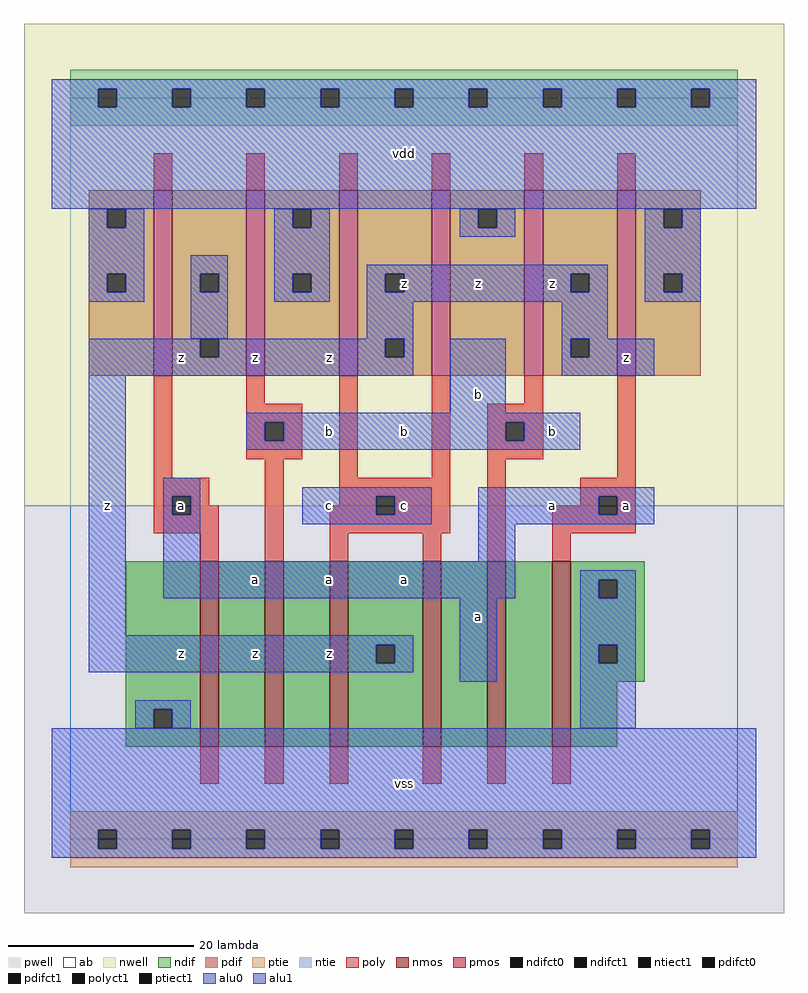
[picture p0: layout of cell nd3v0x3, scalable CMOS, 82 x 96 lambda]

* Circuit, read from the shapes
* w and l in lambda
.subckt nd3v0x3 a b c vdd vss z
M1 n1 a vss vss nfet w=20 l=2
M2 n2 b n1 vss nfet w=20 l=2
M3 z c n2 vss nfet w=20 l=2
M4 n3 c z vss nfet w=20 l=2
M5 n4 b n3 vss nfet w=20 l=2
M6 vss a n4 vss nfet w=20 l=2
M7 z a vdd vdd pfet w=20 l=2 m=2
M8 vdd b z vdd pfet w=20 l=2 m=2
M9 z c vdd vdd pfet w=20 l=2 m=2
.ends

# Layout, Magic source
magic
tech scmos
<< ab >>
rect 0 0 72 80
<< nwell >>
rect -5 36 77 88
<< pwell >>
rect -5 -8 77 36
<< poly >>
rect 9 70 11 74
rect 19 70 21 74
rect 29 70 31 74
rect 39 70 41 74
rect 49 70 51 74
rect 59 70 61 74
rect 9 39 11 50
rect 19 47 21 50
rect 19 45 25 47
rect 19 43 21 45
rect 23 43 25 45
rect 19 41 25 43
rect 9 37 15 39
rect 9 35 11 37
rect 13 36 15 37
rect 13 35 16 36
rect 9 33 16 35
rect 14 30 16 33
rect 21 30 23 41
rect 29 39 31 50
rect 39 39 41 50
rect 49 47 51 50
rect 29 37 41 39
rect 29 36 33 37
rect 28 35 33 36
rect 35 35 41 37
rect 28 33 41 35
rect 45 45 51 47
rect 45 43 47 45
rect 49 43 51 45
rect 45 41 51 43
rect 28 30 30 33
rect 38 30 40 33
rect 45 30 47 41
rect 59 39 61 50
rect 55 37 61 39
rect 55 36 57 37
rect 52 35 57 36
rect 59 35 61 37
rect 52 33 61 35
rect 52 30 54 33
rect 14 6 16 10
rect 21 6 23 10
rect 28 6 30 10
rect 38 6 40 10
rect 45 6 47 10
rect 52 6 54 10
<< ndif >>
rect 6 14 14 30
rect 6 12 9 14
rect 11 12 14 14
rect 6 10 14 12
rect 16 10 21 30
rect 23 10 28 30
rect 30 21 38 30
rect 30 19 33 21
rect 35 19 38 21
rect 30 10 38 19
rect 40 10 45 30
rect 47 10 52 30
rect 54 28 62 30
rect 54 26 57 28
rect 59 26 62 28
rect 54 21 62 26
rect 54 19 57 21
rect 59 19 62 21
rect 54 17 62 19
rect 54 10 59 17
<< pdif >>
rect 2 68 9 70
rect 2 66 4 68
rect 6 66 9 68
rect 2 61 9 66
rect 2 59 4 61
rect 6 59 9 61
rect 2 50 9 59
rect 11 61 19 70
rect 11 59 14 61
rect 16 59 19 61
rect 11 54 19 59
rect 11 52 14 54
rect 16 52 19 54
rect 11 50 19 52
rect 21 68 29 70
rect 21 66 24 68
rect 26 66 29 68
rect 21 61 29 66
rect 21 59 24 61
rect 26 59 29 61
rect 21 50 29 59
rect 31 61 39 70
rect 31 59 34 61
rect 36 59 39 61
rect 31 54 39 59
rect 31 52 34 54
rect 36 52 39 54
rect 31 50 39 52
rect 41 68 49 70
rect 41 66 44 68
rect 46 66 49 68
rect 41 50 49 66
rect 51 61 59 70
rect 51 59 54 61
rect 56 59 59 61
rect 51 54 59 59
rect 51 52 54 54
rect 56 52 59 54
rect 51 50 59 52
rect 61 68 68 70
rect 61 66 64 68
rect 66 66 68 68
rect 61 61 68 66
rect 61 59 64 61
rect 66 59 68 61
rect 61 50 68 59
<< alu1 >>
rect -2 81 74 82
rect -2 79 3 81
rect 5 79 11 81
rect 13 79 19 81
rect 21 79 27 81
rect 29 79 35 81
rect 37 79 43 81
rect 45 79 51 81
rect 53 79 59 81
rect 61 79 67 81
rect 69 79 74 81
rect -2 68 74 79
rect 32 61 58 62
rect 32 59 34 61
rect 36 59 54 61
rect 56 59 58 61
rect 32 58 58 59
rect 32 54 37 58
rect 53 54 58 58
rect 2 52 14 54
rect 16 52 34 54
rect 36 52 37 54
rect 2 50 37 52
rect 2 22 6 50
rect 41 46 47 54
rect 53 52 54 54
rect 56 52 63 54
rect 53 50 63 52
rect 19 45 55 46
rect 19 43 21 45
rect 23 43 47 45
rect 49 43 55 45
rect 19 42 55 43
rect 10 37 14 39
rect 10 35 11 37
rect 13 35 14 37
rect 10 30 14 35
rect 25 37 39 38
rect 25 35 33 37
rect 35 35 39 37
rect 25 34 39 35
rect 44 37 63 38
rect 44 35 57 37
rect 59 35 63 37
rect 44 34 63 35
rect 44 30 48 34
rect 10 26 48 30
rect 2 21 37 22
rect 2 19 33 21
rect 35 19 37 21
rect 2 18 37 19
rect 42 17 46 26
rect -2 1 74 12
rect -2 -1 3 1
rect 5 -1 11 1
rect 13 -1 19 1
rect 21 -1 27 1
rect 29 -1 35 1
rect 37 -1 43 1
rect 45 -1 51 1
rect 53 -1 59 1
rect 61 -1 67 1
rect 69 -1 74 1
rect -2 -2 74 -1
<< ptie >>
rect 0 1 72 3
rect 0 -1 3 1
rect 5 -1 11 1
rect 13 -1 19 1
rect 21 -1 27 1
rect 29 -1 35 1
rect 37 -1 43 1
rect 45 -1 51 1
rect 53 -1 59 1
rect 61 -1 67 1
rect 69 -1 72 1
rect 0 -3 72 -1
<< ntie >>
rect 0 81 72 83
rect 0 79 3 81
rect 5 79 11 81
rect 13 79 19 81
rect 21 79 27 81
rect 29 79 35 81
rect 37 79 43 81
rect 45 79 51 81
rect 53 79 59 81
rect 61 79 67 81
rect 69 79 72 81
rect 0 77 72 79
<< nmos >>
rect 14 10 16 30
rect 21 10 23 30
rect 28 10 30 30
rect 38 10 40 30
rect 45 10 47 30
rect 52 10 54 30
<< pmos >>
rect 9 50 11 70
rect 19 50 21 70
rect 29 50 31 70
rect 39 50 41 70
rect 49 50 51 70
rect 59 50 61 70
<< polyct1 >>
rect 21 43 23 45
rect 11 35 13 37
rect 33 35 35 37
rect 47 43 49 45
rect 57 35 59 37
<< ndifct0 >>
rect 9 12 11 14
rect 57 26 59 28
rect 57 19 59 21
<< ndifct1 >>
rect 33 19 35 21
<< ntiect1 >>
rect 3 79 5 81
rect 11 79 13 81
rect 19 79 21 81
rect 27 79 29 81
rect 35 79 37 81
rect 43 79 45 81
rect 51 79 53 81
rect 59 79 61 81
rect 67 79 69 81
<< ptiect1 >>
rect 3 -1 5 1
rect 11 -1 13 1
rect 19 -1 21 1
rect 27 -1 29 1
rect 35 -1 37 1
rect 43 -1 45 1
rect 51 -1 53 1
rect 59 -1 61 1
rect 67 -1 69 1
<< pdifct0 >>
rect 4 66 6 68
rect 4 59 6 61
rect 14 59 16 61
rect 24 66 26 68
rect 24 59 26 61
rect 44 66 46 68
rect 64 66 66 68
rect 64 59 66 61
<< pdifct1 >>
rect 14 52 16 54
rect 34 59 36 61
rect 34 52 36 54
rect 54 59 56 61
rect 54 52 56 54
<< alu0 >>
rect 2 66 4 68
rect 6 66 8 68
rect 2 61 8 66
rect 22 66 24 68
rect 26 66 28 68
rect 2 59 4 61
rect 6 59 8 61
rect 2 58 8 59
rect 13 61 17 63
rect 13 59 14 61
rect 16 59 17 61
rect 13 54 17 59
rect 22 61 28 66
rect 42 66 44 68
rect 46 66 48 68
rect 42 65 48 66
rect 62 66 64 68
rect 66 66 68 68
rect 22 59 24 61
rect 26 59 28 61
rect 22 58 28 59
rect 62 61 68 66
rect 62 59 64 61
rect 66 59 68 61
rect 62 58 68 59
rect 55 28 61 29
rect 55 26 57 28
rect 59 26 61 28
rect 55 21 61 26
rect 55 19 57 21
rect 59 19 61 21
rect 7 14 13 15
rect 7 12 9 14
rect 11 12 13 14
rect 55 12 61 19
<< labels >>
rlabel alu1 4 36 4 36 6 z
rlabel alu1 12 20 12 20 6 z
rlabel alu1 20 20 20 20 6 z
rlabel alu1 20 28 20 28 6 a
rlabel polyct1 12 36 12 36 6 a
rlabel alu1 20 52 20 52 6 z
rlabel alu1 12 52 12 52 6 z
rlabel alu1 36 6 36 6 6 vss
rlabel alu1 28 20 28 20 6 z
rlabel alu1 28 28 28 28 6 a
rlabel alu1 36 28 36 28 6 a
rlabel alu1 28 36 28 36 6 c
rlabel alu1 28 44 28 44 6 b
rlabel alu1 36 36 36 36 6 c
rlabel alu1 36 44 36 44 6 b
rlabel alu1 28 52 28 52 6 z
rlabel alu1 36 60 36 60 6 z
rlabel alu1 36 74 36 74 6 vdd
rlabel alu1 44 24 44 24 6 a
rlabel alu1 52 36 52 36 6 a
rlabel alu1 52 44 52 44 6 b
rlabel alu1 44 48 44 48 6 b
rlabel alu1 44 60 44 60 6 z
rlabel alu1 52 60 52 60 6 z
rlabel alu1 60 36 60 36 6 a
rlabel alu1 60 52 60 52 6 z
<< end >>
